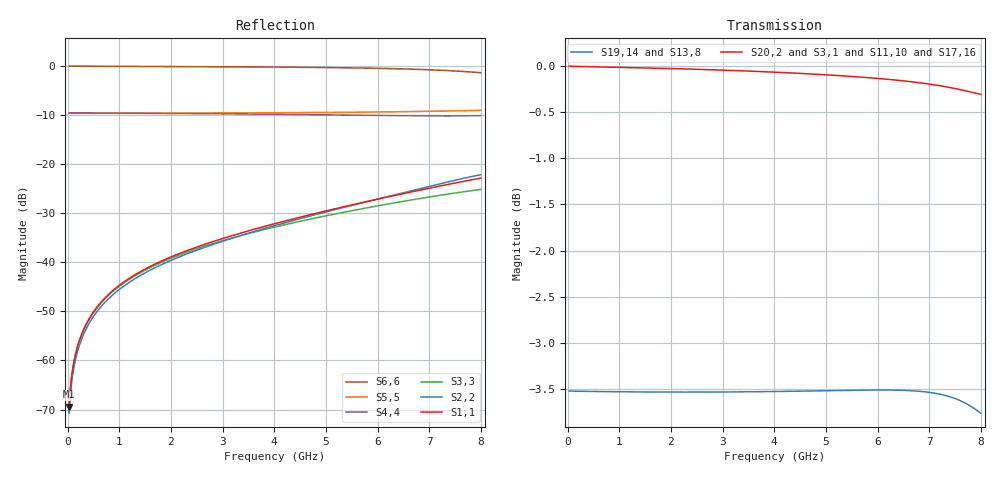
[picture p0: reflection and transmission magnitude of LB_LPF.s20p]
! Sonnet Data File
! From: em Version : 19.54.2026
! From Project: LB_LPF
! Data is De-embedded
! Data File Written: 11/09/2026 22:50:24
!< HDATE 11/09/2026 22:45:19
!< MDATE 11/09/2026 22:45:19
# GHZ S RI R 50.00000
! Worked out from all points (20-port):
!   320 points, 30 MHz to 8 GHz, reference 50 ohm
!   strongest paths, dB at 30 MHz, 2.025 GHz, 4.025 GHz, 6.025 GHz, 8 GHz:
!     S20,2: 0.0, 0.0, -0.1, -0.1, -0.3
!     S3,1: 0.0, 0.0, -0.1, -0.2, -0.3
!     S11,10: 0.0, 0.0, -0.1, -0.2, -1.0
!     S17,16: 0.0, 0.0, -0.1, -0.2, -0.9
!     S19,14: -3.5, -3.5, -3.5, -3.5, -3.8
!     S13,8: -3.5, -3.5, -3.5, -3.5, -3.9
!   lowest |S11| = -69.4 dB at 30 MHz (marker M1), VSWR 1.00, Z = 50 + j0.0311 ohm
!   |S11| at or under -10 dB: start of sweep to end of sweep
